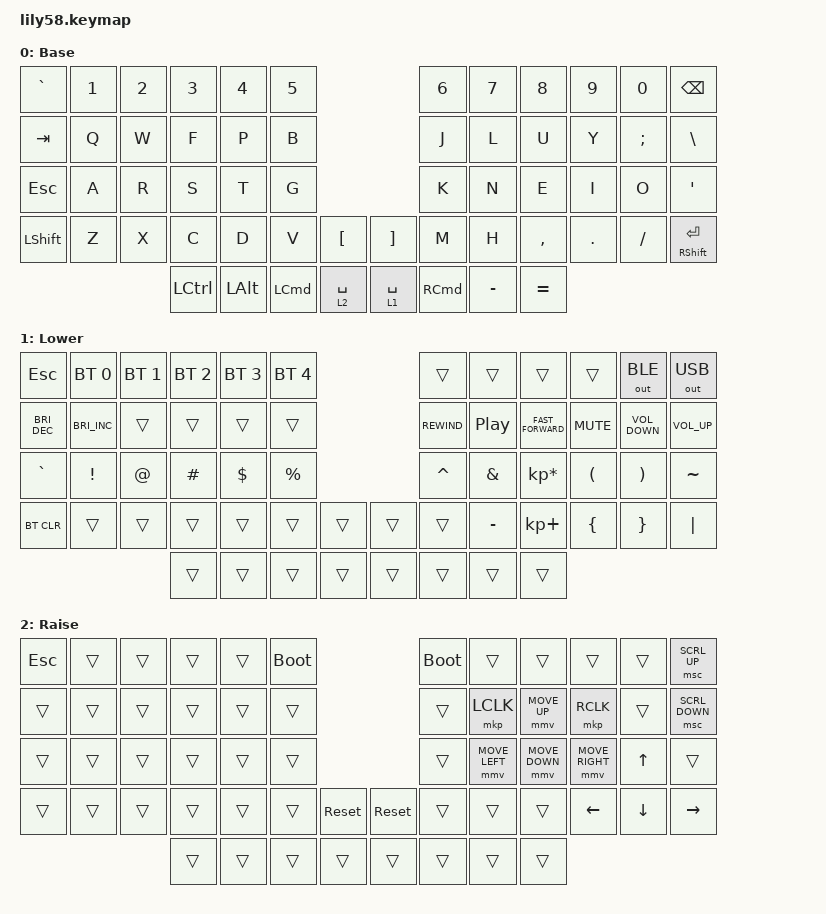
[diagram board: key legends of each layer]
/*
 * Copyright (c) 2020 The ZMK Contributors
 *
 * SPDX-License-Identifier: MIT
 */

#include <behaviors.dtsi>
#include <dt-bindings/zmk/bt.h>
#include <dt-bindings/zmk/keys.h>
#include <dt-bindings/zmk/outputs.h>
#include <dt-bindings/zmk/pointing.h>

/ {
    combos {
        compatible = "zmk,combos";

        nolayer-down {
            bindings = <&kp DOWN>;
            key-positions = <31 32>;
            layers = <0>;
        };

        nolayer-uparrow {
            bindings = <&kp UP>;
            key-positions = <19 20>;
            layers = <0>;
        };

        nolayer-left {
            bindings = <&kp LEFT>;
            key-positions = <30 31>;
            layers = <0>;
        };

        nolayer-right {
            bindings = <&kp RIGHT>;
            key-positions = <32 33>;
            layers = <0>;
        };

        fast-spotlight {
            bindings = <&kp LG(SPACE)>;
            key-positions = <54 53>;
            layers = <0>;
        };

        legacy-escape {
            bindings = <&kp ESCAPE>;
            key-positions = <1 0>;
            layers = <0>;
        };

        fat-enter {
            bindings = <&kp ENTER>;
            key-positions = <48 49>;
        };
    };

    keymap {
        compatible = "zmk,keymap";

        default_layer {
            display-name = "Base";
            bindings = <
&kp GRAVE   &kp N1  &kp N2  &kp N3            &kp N4        &kp N5                                        &kp N6             &kp N7     &kp N8     &kp N9   &kp N0         &kp BACKSPACE
&kp TAB     &kp Q   &kp W   &kp F             &kp P         &kp B                                         &kp J              &kp L      &kp U      &kp Y    &kp SEMICOLON  &kp BACKSLASH
&kp ESCAPE  &kp A   &kp R   &kp S             &kp T         &kp G                                         &kp K              &kp N      &kp E      &kp I    &kp O          &kp SQT
&kp LSHFT   &kp Z   &kp X   &kp C             &kp D         &kp V             &kp LBKT       &kp RBKT     &kp M              &kp H      &kp COMMA  &kp DOT  &kp FSLH       &mt RSHFT ENTER
                            &kp LEFT_CONTROL  &kp LEFT_ALT  &kp LEFT_COMMAND  &lt 2 SPACE    &lt 1 SPACE  &kp RIGHT_COMMAND  &kp MINUS  &kp EQUAL
            >;
        };

        lower_layer {
            display-name = "Lower";
            bindings = <
&kp ESCAPE            &bt BT_SEL 0          &bt BT_SEL 1  &bt BT_SEL 2  &bt BT_SEL 3  &bt BT_SEL 4                    &trans        &trans            &trans              &trans      &out OUT_BLE       &out OUT_USB
&kp C_BRIGHTNESS_DEC  &kp C_BRIGHTNESS_INC  &trans        &trans        &trans        &trans                          &kp C_REWIND  &kp C_PLAY_PAUSE  &kp C_FAST_FORWARD  &kp C_MUTE  &kp C_VOLUME_DOWN  &kp C_VOLUME_UP
&kp GRAVE             &kp EXCL              &kp AT        &kp HASH      &kp DOLLAR    &kp PRCNT                       &kp CARET     &kp AMPS          &kp KP_MULTIPLY     &kp LPAR    &kp RPAR           &kp TILDE
&bt BT_CLR            &trans                &trans        &trans        &trans        &trans        &trans    &trans  &trans        &kp MINUS         &kp KP_PLUS         &kp LBRC    &kp RBRC           &kp PIPE
                                                          &trans        &trans        &trans        &trans    &trans  &trans        &trans            &trans
            >;
        };

        raise_layer {
            display-name = "Raise";
            bindings = <
&kp ESCAPE  &trans  &trans  &trans  &trans  &bootloader                            &bootloader  &trans          &trans          &trans           &trans        &msc SCRL_UP
&trans      &trans  &trans  &trans  &trans  &trans                                 &trans       &mkp LCLK       &mmv MOVE_UP    &mkp RCLK        &trans        &msc SCRL_DOWN
&trans      &trans  &trans  &trans  &trans  &trans                                 &trans       &mmv MOVE_LEFT  &mmv MOVE_DOWN  &mmv MOVE_RIGHT  &kp UP_ARROW  &trans
&trans      &trans  &trans  &trans  &trans  &trans       &sys_reset    &sys_reset  &trans       &trans          &trans          &kp LEFT         &kp DOWN      &kp RIGHT
                            &trans  &trans  &trans       &trans        &trans      &trans       &trans          &trans
            >;
        };

        extra_1 { status = "reserved"; };

        extra_2 { status = "reserved"; };

        extra_3 { status = "reserved"; };
    };
};
